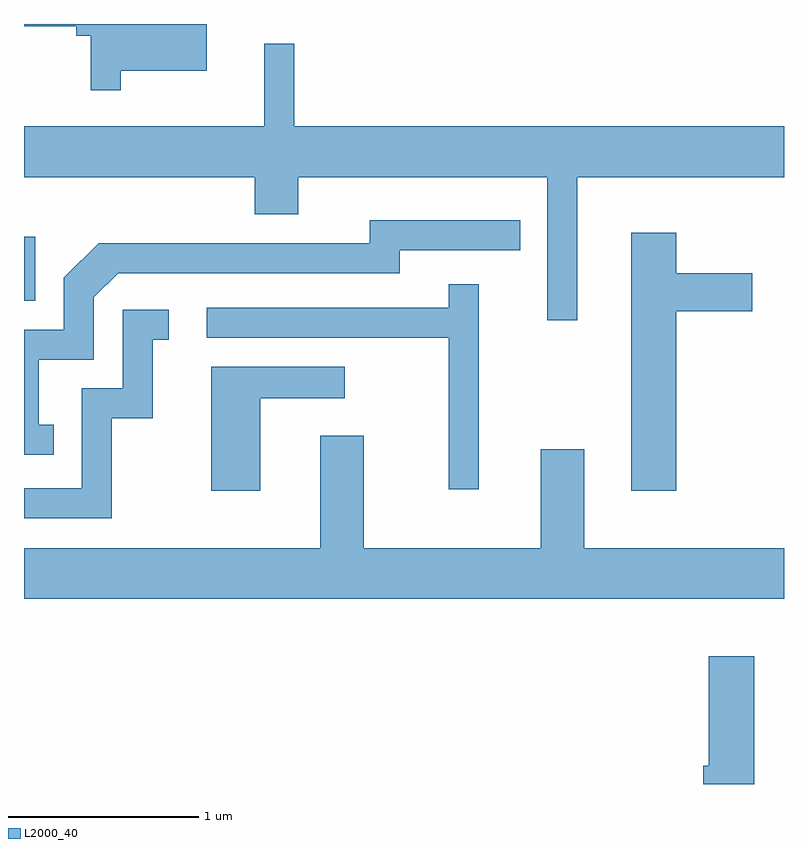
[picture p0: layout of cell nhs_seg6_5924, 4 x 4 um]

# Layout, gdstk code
import gdstk
lib = gdstk.Library(unit=1e-6, precision=1e-09)
def R(c, l, rs):  # rectangles x0, y0, x1, y1
    for r in rs: c.add(gdstk.rectangle(r[:2], r[2:], *l))
def P(c, l, *ps):  # polygons
    for p in ps: c.add(gdstk.Polygon(p, *l))
L2000_40 = (2000, 40)

nhs_seg6_5924 = lib.new_cell('nhs_seg6_5924')
R(nhs_seg6_5924, L2000_40, [(365.611,1562.706,365.669,1563.043)])
P(nhs_seg6_5924, L2000_40, [(366.119,1563.916),(366.574,1563.916),(366.574,1564.162),(365.611,1564.162),(365.611,1564.151),(365.886,1564.151),(365.886,1564.101),(365.961,1564.101),(365.961,1563.813),(366.119,1563.813)],
  [(368.524,1563.356),(369.611,1563.356),(369.611,1563.624),(367.034,1563.624),(367.034,1564.058),(366.876,1564.058),(366.876,1563.624),(365.611,1563.624),(365.611,1563.356),(366.826,1563.356),(366.826,1563.161),(367.054,1563.161),(367.054,1563.356),(368.366,1563.356),(368.366,1562.603),(368.524,1562.603)],
  [(365.768,1562.054),(365.689,1562.054),(365.689,1562.396),(365.979,1562.396),(365.979,1562.724),(366.107,1562.851),(367.589,1562.851),(367.589,1562.971),(368.223,1562.971),(368.223,1563.129),(367.431,1563.129),(367.431,1563.009),(366.004,1563.009),(365.821,1562.827),(365.821,1562.554),(365.611,1562.554),(365.611,1561.896),(365.768,1561.896)],
  [(369.044,1562.651),(369.444,1562.651),(369.444,1562.849),(369.044,1562.849),(369.044,1563.064),(368.806,1563.064),(368.806,1561.706),(369.044,1561.706)],
  [(368.004,1562.793),(367.846,1562.793),(367.846,1562.669),(366.573,1562.669),(366.573,1562.511),(367.846,1562.511),(367.846,1561.713),(368.004,1561.713)],
  [(366.074,1562.086),(366.289,1562.086),(366.289,1562.501),(366.373,1562.501),(366.373,1562.659),(366.131,1562.659),(366.131,1562.244),(365.916,1562.244),(365.916,1561.719),(365.611,1561.719),(365.611,1561.561),(366.074,1561.561)],
  [(366.854,1562.191),(367.298,1562.191),(367.298,1562.359),(366.596,1562.359),(366.596,1561.706),(366.854,1561.706)],
  [(369.611,1561.404),(368.559,1561.404),(368.559,1561.924),(368.331,1561.924),(368.331,1561.404),(367.399,1561.404),(367.399,1561.994),(367.171,1561.994),(367.171,1561.404),(365.611,1561.404),(365.611,1561.136),(369.611,1561.136)],
  [(369.454,1560.834),(369.216,1560.834),(369.216,1560.259),(369.186,1560.259),(369.186,1560.162),(369.454,1560.162)])

lib.write_gds('nhs_seg6_5924.gds')
